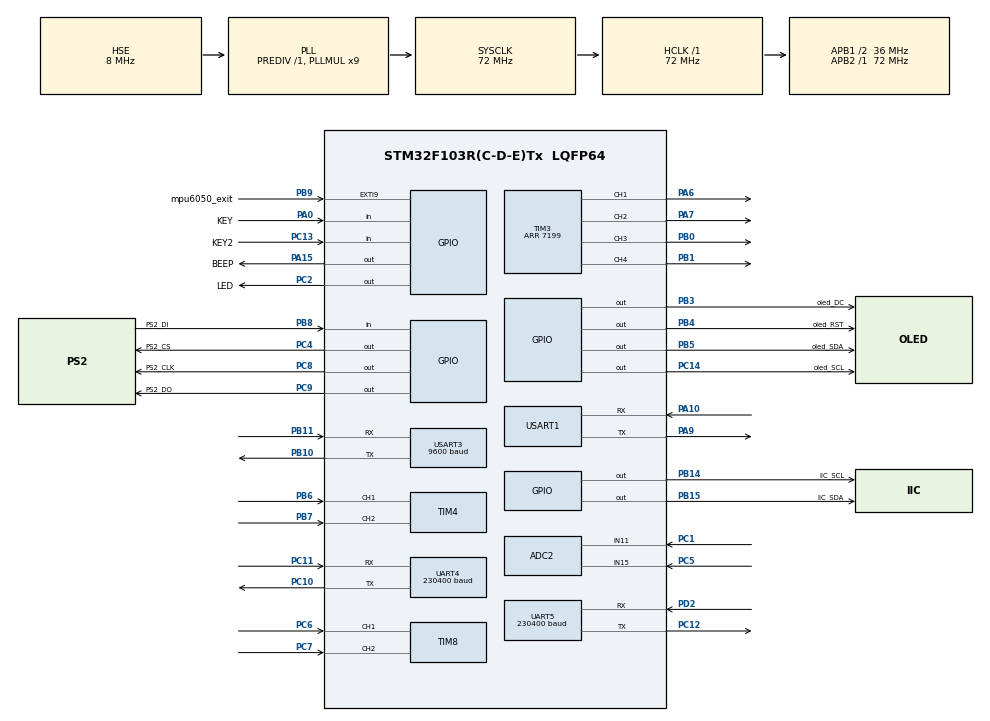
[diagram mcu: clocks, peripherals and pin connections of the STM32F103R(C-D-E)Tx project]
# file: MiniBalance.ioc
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ADC2.ContinuousConvMode=DISABLE
ADC2.EnableRegularConversion=DISABLE
Dma.Request0=UART4_RX
Dma.UART4_RX.0.Direction=DMA_PERIPH_TO_MEMORY
Dma.UART4_RX.0.Instance=DMA2_Channel3
Dma.UART4_RX.0.MemDataAlignment=DMA_MDATAALIGN_BYTE
Dma.UART4_RX.0.MemInc=DMA_MINC_ENABLE
Dma.UART4_RX.0.Mode=DMA_CIRCULAR
Dma.UART4_RX.0.PeriphDataAlignment=DMA_PDATAALIGN_BYTE
Dma.UART4_RX.0.PeriphInc=DMA_PINC_DISABLE
Dma.UART4_RX.0.Priority=DMA_PRIORITY_LOW
Mcu.Family=STM32F1
Mcu.Name=STM32F103R(C-D-E)Tx
Mcu.Package=LQFP64
NVIC.DMA2_Channel3_IRQn=true\:0\:0\:false\:false\:true\:false\:true
NVIC.EXTI9_5_IRQn=true\:2\:1\:true\:false\:true\:true\:true
NVIC.PriorityGroup=NVIC_PRIORITYGROUP_2
NVIC.UART4_IRQn=true\:1\:1\:true\:false\:true\:true\:true
NVIC.UART5_IRQn=true\:1\:1\:true\:false\:true\:true\:true
NVIC.USART3_IRQn=true\:1\:1\:true\:false\:true\:true\:true
PA0-WKUP.GPIO_Label=KEY
PA0-WKUP.GPIO_PuPd=GPIO_NOPULL
PA0-WKUP.Signal=GPIO_Input
PA10.Mode=Asynchronous
PA10.Signal=USART1_RX
PA13.Mode=Serial_Wire
PA13.Signal=SYS_JTMS-SWDIO
PA14.Mode=Serial_Wire
PA14.Signal=SYS_JTCK-SWCLK
PA15.GPIO_Label=BEEP
PA15.GPIO_ModeDefaultOutputPP=GPIO_MODE_OUTPUT_PP
PA15.GPIO_Speed=GPIO_SPEED_FREQ_LOW
PA15.PinState=GPIO_PIN_RESET
PA15.Signal=GPIO_Output
PA6.Signal=S_TIM3_CH1
PA7.Signal=S_TIM3_CH2
PA9.Mode=Asynchronous
PA9.Signal=USART1_TX
PB0.Signal=S_TIM3_CH3
PB1.Signal=S_TIM3_CH4
PB10.Mode=Asynchronous
PB10.Signal=USART3_TX
PB11.Mode=Asynchronous
PB11.Signal=USART3_RX
PB14.GPIO_Label=IIC_SCL
PB14.GPIO_Speed=GPIO_SPEED_FREQ_HIGH
PB14.PinState=GPIO_PIN_SET
PB14.Signal=GPIO_Output
PB15.GPIO_Label=IIC_SDA
PB15.GPIO_Speed=GPIO_SPEED_FREQ_HIGH
PB15.PinState=GPIO_PIN_SET
PB15.Signal=GPIO_Output
PB3.GPIO_Label=oled_DC
PB3.GPIO_Speed=GPIO_SPEED_FREQ_MEDIUM
PB3.Signal=GPIO_Output
PB4.GPIO_Label=oled_RST
PB4.GPIO_Speed=GPIO_SPEED_FREQ_MEDIUM
PB4.Signal=GPIO_Output
PB5.GPIO_Label=oled_SDA
PB5.GPIO_Speed=GPIO_SPEED_FREQ_MEDIUM
PB5.Signal=GPIO_Output
PB6.Signal=S_TIM4_CH1
PB7.Signal=S_TIM4_CH2
PB8.GPIO_Label=PS2_DI
PB8.GPIO_PuPd=GPIO_PULLUP
PB8.Signal=GPIO_Input
PB9.GPIO_Label=mpu6050_exit
PB9.GPIO_ModeDefaultEXTI=GPIO_MODE_IT_FALLING
PB9.GPIO_PuPd=GPIO_PULLUP
PB9.Signal=GPXTI9
PC1.Signal=SharedAnalog_PC1
PC10.Mode=Asynchronous
PC10.Signal=UART4_TX
PC11.Mode=Asynchronous
PC11.Signal=UART4_RX
PC12.Mode=Asynchronous
PC12.Signal=UART5_TX
PC13-TAMPER-RTC.GPIO_Label=KEY2
PC13-TAMPER-RTC.Signal=GPIO_Input
PC14-OSC32_IN.GPIO_Label=oled_SCL
PC14-OSC32_IN.GPIO_Speed=GPIO_SPEED_FREQ_MEDIUM
PC14-OSC32_IN.PinState=GPIO_PIN_RESET
PC14-OSC32_IN.Signal=GPIO_Output
PC2.GPIO_Label=LED
PC2.GPIO_ModeDefaultOutputPP=GPIO_MODE_OUTPUT_PP
PC2.GPIO_Speed=GPIO_SPEED_FREQ_HIGH
PC2.PinState=GPIO_PIN_SET
PC2.Signal=GPIO_Output
PC4.GPIO_Label=PS2_CS
PC4.GPIO_PuPd=GPIO_NOPULL
PC4.GPIO_Speed=GPIO_SPEED_FREQ_HIGH
PC4.Signal=GPIO_Output
PC5.Signal=SharedAnalog_PC5
PC6.Signal=S_TIM8_CH1
PC7.Signal=S_TIM8_CH2
PC8.GPIO_Label=PS2_CLK
PC8.GPIO_Speed=GPIO_SPEED_FREQ_HIGH
PC8.Signal=GPIO_Output
PC9.GPIO_Label=PS2_DO
PC9.GPIO_Speed=GPIO_SPEED_FREQ_HIGH
PC9.Signal=GPIO_Output
PD0-OSC_IN.Mode=HSE-External-Oscillator
PD0-OSC_IN.Signal=RCC_OSC_IN
PD1-OSC_OUT.Mode=HSE-External-Oscillator
PD1-OSC_OUT.Signal=RCC_OSC_OUT
PD2.Mode=Asynchronous
PD2.Signal=UART5_RX
ProjectManager.HeapSize=0x200
ProjectManager.StackSize=0x400
ProjectManager.TargetToolchain=MDK-ARM V5.32
RCC.ADCPresc=RCC_ADCPCLK2_DIV6
RCC.AHBFreq_Value=72000000
RCC.APB1CLKDivider=RCC_HCLK_DIV2
RCC.APB1Freq_Value=36000000
RCC.APB1TimFreq_Value=72000000
RCC.APB2Freq_Value=72000000
RCC.APB2TimFreq_Value=72000000
RCC.HCLKFreq_Value=72000000
RCC.PLLMUL=RCC_PLL_MUL9
RCC.PLLSourceVirtual=RCC_PLLSOURCE_HSE
RCC.SYSCLKFreq_VALUE=72000000
RCC.SYSCLKSource=RCC_SYSCLKSOURCE_PLLCLK
RCC.USBFreq_Value=72000000
SH.S_TIM3_CH1.0=TIM3_CH1,PWM Generation1 CH1
SH.S_TIM3_CH2.0=TIM3_CH2,PWM Generation2 CH2
SH.S_TIM3_CH3.0=TIM3_CH3,PWM Generation3 CH3
SH.S_TIM3_CH4.0=TIM3_CH4,PWM Generation4 CH4
SH.S_TIM4_CH1.0=TIM4_CH1,Encoder_Interface
SH.S_TIM4_CH2.0=TIM4_CH2,Encoder_Interface
SH.S_TIM8_CH1.0=TIM8_CH1,Encoder_Interface
SH.S_TIM8_CH2.0=TIM8_CH2,Encoder_Interface
SH.SharedAnalog_PC1.0=GPIO_Analog
SH.SharedAnalog_PC1.1=ADC2_IN11,IN11
SH.SharedAnalog_PC5.0=GPIO_Analog
SH.SharedAnalog_PC5.1=ADC2_IN15,IN15
TIM3.AutoReloadPreload=TIM_AUTORELOAD_PRELOAD_ENABLE
TIM3.Channel-PWM\ Generation1\ CH1=TIM_CHANNEL_1
TIM3.Channel-PWM\ Generation2\ CH2=TIM_CHANNEL_2
TIM3.Channel-PWM\ Generation3\ CH3=TIM_CHANNEL_3
TIM3.Channel-PWM\ Generation4\ CH4=TIM_CHANNEL_4
TIM3.Period=7199
TIM4.AutoReloadPreload=TIM_AUTORELOAD_PRELOAD_DISABLE
TIM4.EncoderMode=TIM_ENCODERMODE_TI12
TIM4.IC1Filter=10
TIM4.IC2Filter=10
TIM8.EncoderMode=TIM_ENCODERMODE_TI12
TIM8.IC1Filter=10
TIM8.IC2Filter=10
UART4.BaudRate=230400
UART4.VirtualMode=Asynchronous
UART5.BaudRate=230400
UART5.VirtualMode=Asynchronous
USART1.VirtualMode=VM_ASYNC
USART3.BaudRate=9600
USART3.VirtualMode=VM_ASYNC
VP_TIM3_VS_ClockSourceINT.Mode=Internal
board=custom

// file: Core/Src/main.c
/* USER CODE BEGIN Header */
/**
  ******************************************************************************
  * @file           : main.c
  * @brief          : Main program body
  ******************************************************************************
  * @attention
  *
  * Copyright (c) 2023 STMicroelectronics.
  * All rights reserved.
  *
  * This software is licensed under terms that can be found in the LICENSE file
  * in the root directory of this software component.
  * If no LICENSE file comes with this software, it is provided AS-IS.
  *
  ******************************************************************************
  */
/* USER CODE END Header */
#include "main.h"
#include "adc.h"
#include "dma.h"
#include "tim.h"
#include "usart.h"
#include "gpio.h"
#include "stdbool.h"

/* USER CODE BEGIN Includes */
#include "sys.h"
/* USER CODE END Includes */

/* USER CODE BEGIN PV */
u8 Pick_up_stop=0;                          //检查是否被拿起标志位
int Middle_angle=0;                         //机械中值默认为0
u8 Way_Angle=1;                             //获取角度的算法，1：四元数  2：卡尔曼  3：互补滤波
u16 Flag_front,Flag_back,Flag_Left,Flag_Right,Flag_velocity=2,Target_Velocity=30; //蓝牙遥控相关的变量
float RC_Velocity,RC_Turn_Velocity;			    //遥控控制的速度
u8 Flag_Stop=1,Flag_Show=0;                 //电机停止标志位和显示标志位  默认停止 显示打开
u8 PS2_ON_Flag = 0;		                      //默认所有方式不控制
u8 Mode = 0;								                //模式选择，默认是普通的控制模式
float Move_X,Move_Z;                        //控制小车避障、跟随时前进的变量，转弯的变量
u16 determine;                              //雷达跟随模式的一个标志位
int Encoder_Left,Encoder_Right;             //左右编码器的脉冲计数
int Motor_Left,Motor_Right;                 //电机PWM变量 应是Motor的 向Moto致敬
int Temperature;                            //温度变量
int Voltage;                                //电池电压采样相关的变量
float Angle_Balance,Gyro_Balance,Gyro_Turn; //平衡倾角 平衡陀螺仪 转向陀螺仪
u32 Distance;                               //雷达测距
u8 delay_50,PID_Send; 						//延时和调参相关变量
volatile u8 delay_flag;
u8 Flag_follow=0,Flag_avoid=0,Flag_straight=0;							//雷达跟随、雷达避障标志位
u8 Lidar_Detect = Lidar_Detect_ON;			//电磁巡线模式雷达检测障碍物，默认开启
float Acceleration_Z;                       //Z轴加速度计
u8 CCD_Zhongzhi,CCD_Yuzhi;                 //线性CCD相关
float Balance_Kp=27000,Balance_Kd=110,Velocity_Kp=400,Velocity_Ki=2,Turn_Kp=4200,Turn_Kd=100;//PID参数（放大100倍）
u16 Angle_ADC = 0;
int Avoid_Flag=0;//遥控时雷达避障开启标志位
int Lidar_Online_Flag=0,Lidar_Online_Cnt=0;
volatile int init_cnt=0,APP_ON=0;
volatile int Steady_Flag,time_cnt=0;//稳态标定

volatile bool answer_flag = true;

/* USER CODE END PV */

void SystemClock_Config(void);

int main(void)
{

  /* MCU Configuration--------------------------------------------------------*/

  /* Reset of all peripherals, Initializes the Flash interface and the Systick. */
  HAL_Init();

  /* Configure the system clock */
  SystemClock_Config();

  /* Initialize all configured peripherals */
  MX_GPIO_Init();
  MX_TIM3_Init();
  MX_USART1_UART_Init();
  MX_USART3_UART_Init();
  MX_TIM8_Init();
  MX_TIM4_Init();
  MX_ADC2_Init();
  MX_DMA_Init();
  MX_UART4_Init();
  MX_UART5_Init();
  /* USER CODE BEGIN 2 */
	JTAG_Set(JTAG_SWD_DISABLE);     //关闭JTAG接口
	JTAG_Set(SWD_ENABLE);           //打开SWD接口 可以利用主板的SWD接口调试
	delay_init();                   //延迟函数初始化
	BEEP_GPIO_Config();							//蜂鸣器初始化
	OLED_Init();										//OLED初始化
	MPU6050_initialize();           //MPU6050初始化
	DMP_Init();                     //初始化DMP
  /* USER CODE END 2 */

  /* Infinite loop */
  /* USER CODE BEGIN WHILE */

  while (1)
  {
		if(Flag_Show==0)          		//使用MiniBalance APP和OLED显示屏
		{

			if (answer_flag) {
				APP_Show();        // 发送状态格式数据
				answer_flag = false;
			}
			// APP_Show();								//发送数据给APP

			oled_show();          		//显示屏打开
			PS2_Read();								//手柄数据读取
		}
		else                      		//使用MiniBalance上位机 上位机使用的时候需要严格的时序，故此时关闭app监控部分和OLED显示屏
		{
			DataScope();          			//开启MiniBalance上位机
		}
		if(Lidar_Deal_Flag){			//成功接收雷达一圈的点云
			Lidar_data_Deal();			//雷达数据处理
			Lidar_Deal_Flag=0;
		}
    /* USER CODE END WHILE */

  }
}

void SystemClock_Config(void)
{
  RCC_OscInitTypeDef RCC_OscInitStruct = {0};
  RCC_ClkInitTypeDef RCC_ClkInitStruct = {0};
  RCC_PeriphCLKInitTypeDef PeriphClkInit = {0};

  /** Initializes the RCC Oscillators according to the specified parameters
  * in the RCC_OscInitTypeDef structure.
  */
  RCC_OscInitStruct.OscillatorType = RCC_OSCILLATORTYPE_HSE;
  RCC_OscInitStruct.HSEState = RCC_HSE_ON;
  RCC_OscInitStruct.HSEPredivValue = RCC_HSE_PREDIV_DIV1;
  RCC_OscInitStruct.HSIState = RCC_HSI_ON;
  RCC_OscInitStruct.PLL.PLLState = RCC_PLL_ON;
  RCC_OscInitStruct.PLL.PLLSource = RCC_PLLSOURCE_HSE;
  RCC_OscInitStruct.PLL.PLLMUL = RCC_PLL_MUL9;
  if (HAL_RCC_OscConfig(&RCC_OscInitStruct) != HAL_OK)
  {
    Error_Handler();
  }
  /** Initializes the CPU, AHB and APB buses clocks
  */
  RCC_ClkInitStruct.ClockType = RCC_CLOCKTYPE_HCLK|RCC_CLOCKTYPE_SYSCLK
                              |RCC_CLOCKTYPE_PCLK1|RCC_CLOCKTYPE_PCLK2;
  RCC_ClkInitStruct.SYSCLKSource = RCC_SYSCLKSOURCE_PLLCLK;
  RCC_ClkInitStruct.AHBCLKDivider = RCC_SYSCLK_DIV1;
  RCC_ClkInitStruct.APB1CLKDivider = RCC_HCLK_DIV2;
  RCC_ClkInitStruct.APB2CLKDivider = RCC_HCLK_DIV1;

  if (HAL_RCC_ClockConfig(&RCC_ClkInitStruct, FLASH_LATENCY_2) != HAL_OK)
  {
    Error_Handler();
  }
  PeriphClkInit.PeriphClockSelection = RCC_PERIPHCLK_ADC;
  PeriphClkInit.AdcClockSelection = RCC_ADCPCLK2_DIV6;
  if (HAL_RCCEx_PeriphCLKConfig(&PeriphClkInit) != HAL_OK)
  {
    Error_Handler();
  }
}

void Error_Handler(void)
{
  __disable_irq();
  while (1)
  {
  }
}
